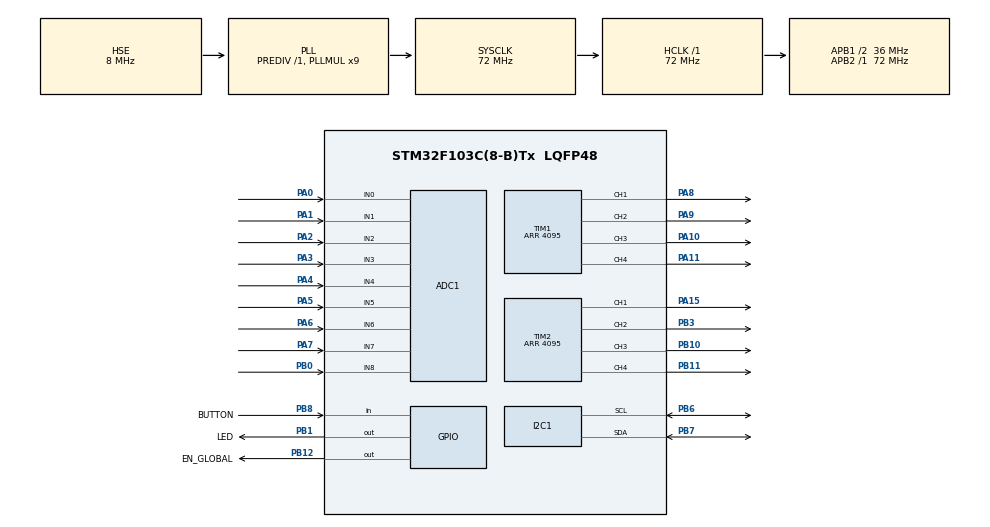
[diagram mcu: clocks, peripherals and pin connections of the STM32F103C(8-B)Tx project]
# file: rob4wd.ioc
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ADC1.Channel-0\#ChannelRegularConversion=ADC_CHANNEL_0
ADC1.Channel-1\#ChannelRegularConversion=ADC_CHANNEL_1
ADC1.Channel-2\#ChannelRegularConversion=ADC_CHANNEL_2
ADC1.Channel-3\#ChannelRegularConversion=ADC_CHANNEL_3
ADC1.Channel-4\#ChannelRegularConversion=ADC_CHANNEL_4
ADC1.Channel-5\#ChannelRegularConversion=ADC_CHANNEL_5
ADC1.Channel-6\#ChannelRegularConversion=ADC_CHANNEL_6
ADC1.Channel-7\#ChannelRegularConversion=ADC_CHANNEL_7
ADC1.Channel-8\#ChannelRegularConversion=ADC_CHANNEL_8
ADC1.NbrOfConversion=9
ADC1.NbrOfConversionFlag=1
ADC1.Rank-0\#ChannelRegularConversion=1
ADC1.Rank-1\#ChannelRegularConversion=2
ADC1.Rank-2\#ChannelRegularConversion=3
ADC1.Rank-3\#ChannelRegularConversion=4
ADC1.Rank-4\#ChannelRegularConversion=5
ADC1.Rank-5\#ChannelRegularConversion=6
ADC1.Rank-6\#ChannelRegularConversion=7
ADC1.Rank-7\#ChannelRegularConversion=8
ADC1.Rank-8\#ChannelRegularConversion=9
ADC1.SamplingTime-0\#ChannelRegularConversion=ADC_SAMPLETIME_7CYCLES_5
ADC1.SamplingTime-1\#ChannelRegularConversion=ADC_SAMPLETIME_7CYCLES_5
ADC1.SamplingTime-2\#ChannelRegularConversion=ADC_SAMPLETIME_7CYCLES_5
ADC1.SamplingTime-3\#ChannelRegularConversion=ADC_SAMPLETIME_7CYCLES_5
ADC1.SamplingTime-4\#ChannelRegularConversion=ADC_SAMPLETIME_7CYCLES_5
ADC1.SamplingTime-5\#ChannelRegularConversion=ADC_SAMPLETIME_7CYCLES_5
ADC1.SamplingTime-6\#ChannelRegularConversion=ADC_SAMPLETIME_7CYCLES_5
ADC1.SamplingTime-7\#ChannelRegularConversion=ADC_SAMPLETIME_7CYCLES_5
ADC1.SamplingTime-8\#ChannelRegularConversion=ADC_SAMPLETIME_7CYCLES_5
ADC1.master=1
Dma.ADC1.0.Direction=DMA_PERIPH_TO_MEMORY
Dma.ADC1.0.Instance=DMA1_Channel1
Dma.ADC1.0.MemDataAlignment=DMA_MDATAALIGN_HALFWORD
Dma.ADC1.0.MemInc=DMA_MINC_ENABLE
Dma.ADC1.0.Mode=DMA_NORMAL
Dma.ADC1.0.PeriphDataAlignment=DMA_PDATAALIGN_HALFWORD
Dma.ADC1.0.PeriphInc=DMA_PINC_DISABLE
Dma.ADC1.0.Priority=DMA_PRIORITY_LOW
Dma.Request0=ADC1
I2C1.OwnAddress=15
Mcu.Family=STM32F1
Mcu.Name=STM32F103C(8-B)Tx
Mcu.Package=LQFP48
NVIC.DMA1_Channel1_IRQn=true\:2\:2\:true\:false\:true\:false
NVIC.I2C1_ER_IRQn=true\:1\:0\:true\:false\:true\:true
NVIC.I2C1_EV_IRQn=true\:1\:1\:true\:false\:true\:true
NVIC.PriorityGroup=NVIC_PRIORITYGROUP_2
NVIC.TIM4_IRQn=true\:2\:1\:true\:false\:true\:true
PA0-WKUP.Signal=ADCx_IN0
PA1.Signal=ADCx_IN1
PA10.Signal=S_TIM1_CH3
PA11.Signal=S_TIM1_CH4
PA13.Mode=Serial_Wire
PA13.Signal=SYS_JTMS-SWDIO
PA14.Mode=Serial_Wire
PA14.Signal=SYS_JTCK-SWCLK
PA15.Signal=S_TIM2_CH1_ETR
PA2.Signal=ADCx_IN2
PA3.Signal=ADCx_IN3
PA4.Signal=ADCx_IN4
PA5.Signal=ADCx_IN5
PA6.Signal=ADCx_IN6
PA7.Signal=ADCx_IN7
PA8.Signal=S_TIM1_CH1
PA9.Signal=S_TIM1_CH2
PB0.Signal=ADCx_IN8
PB1.GPIO_Label=LED
PB1.Signal=GPIO_Output
PB10.Signal=S_TIM2_CH3
PB11.Signal=S_TIM2_CH4
PB12.GPIO_Label=EN_GLOBAL
PB12.Signal=GPIO_Output
PB3.Signal=S_TIM2_CH2
PB6.Mode=I2C
PB6.Signal=I2C1_SCL
PB7.Mode=I2C
PB7.Signal=I2C1_SDA
PB8.GPIO_Label=BUTTON
PB8.Signal=GPIO_Input
PD0-OSC_IN.Mode=HSE-External-Oscillator
PD0-OSC_IN.Signal=RCC_OSC_IN
PD1-OSC_OUT.Mode=HSE-External-Oscillator
PD1-OSC_OUT.Signal=RCC_OSC_OUT
ProjectManager.HeapSize=0x200
ProjectManager.StackSize=0x400
ProjectManager.TargetToolchain=MDK-ARM V5
RCC.ADCPresc=RCC_ADCPCLK2_DIV6
RCC.AHBFreq_Value=72000000
RCC.APB1CLKDivider=RCC_HCLK_DIV2
RCC.APB1Freq_Value=36000000
RCC.APB1TimFreq_Value=72000000
RCC.APB2Freq_Value=72000000
RCC.APB2TimFreq_Value=72000000
RCC.HCLKFreq_Value=72000000
RCC.PLLMUL=RCC_PLL_MUL9
RCC.PLLSourceVirtual=RCC_PLLSOURCE_HSE
RCC.SYSCLKFreq_VALUE=72000000
RCC.SYSCLKSource=RCC_SYSCLKSOURCE_PLLCLK
RCC.USBFreq_Value=72000000
SH.ADCx_IN0.0=ADC1_IN0,IN0
SH.ADCx_IN1.0=ADC1_IN1,IN1
SH.ADCx_IN2.0=ADC1_IN2,IN2
SH.ADCx_IN3.0=ADC1_IN3,IN3
SH.ADCx_IN4.0=ADC1_IN4,IN4
SH.ADCx_IN5.0=ADC1_IN5,IN5
SH.ADCx_IN6.0=ADC1_IN6,IN6
SH.ADCx_IN7.0=ADC1_IN7,IN7
SH.ADCx_IN8.0=ADC1_IN8,IN8
SH.S_TIM1_CH1.0=TIM1_CH1,PWM Generation1 CH1
SH.S_TIM1_CH2.0=TIM1_CH2,PWM Generation2 CH2
SH.S_TIM1_CH3.0=TIM1_CH3,PWM Generation3 CH3
SH.S_TIM1_CH4.0=TIM1_CH4,PWM Generation4 CH4
SH.S_TIM2_CH1_ETR.0=TIM2_CH1,PWM Generation1 CH1
SH.S_TIM2_CH2.0=TIM2_CH2,PWM Generation2 CH2
SH.S_TIM2_CH3.0=TIM2_CH3,PWM Generation3 CH3
SH.S_TIM2_CH4.0=TIM2_CH4,PWM Generation4 CH4
TIM1.Channel-PWM\ Generation1\ CH1=TIM_CHANNEL_1
TIM1.Channel-PWM\ Generation2\ CH2=TIM_CHANNEL_2
TIM1.Channel-PWM\ Generation3\ CH3=TIM_CHANNEL_3
TIM1.Channel-PWM\ Generation4\ CH4=TIM_CHANNEL_4
TIM1.Period=4095
TIM2.Channel-PWM\ Generation1\ CH1=TIM_CHANNEL_1
TIM2.Channel-PWM\ Generation2\ CH2=TIM_CHANNEL_2
TIM2.Channel-PWM\ Generation3\ CH3=TIM_CHANNEL_3
TIM2.Channel-PWM\ Generation4\ CH4=TIM_CHANNEL_4
TIM2.Period=4095
TIM4.Period=35999
TIM4.Prescaler=1
VP_TIM4_VS_ClockSourceINT.Mode=Internal
board=rob4wd

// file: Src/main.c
/**
  ******************************************************************************
  * File Name          : main.c
  * Description        : Main program body
  ******************************************************************************
  ** This notice applies to any and all portions of this file
  * that are not between comment pairs USER CODE BEGIN and
  * USER CODE END. Other portions of this file, whether
  * inserted by the user or by software development tools
  * are owned by their respective copyright owners.
  *
  * COPYRIGHT(c) 2018 STMicroelectronics
  *
  * Redistribution and use in source and binary forms, with or without modification,
  * are permitted provided that the following conditions are met:
  *   1. Redistributions of source code must retain the above copyright notice,
  *      this list of conditions and the following disclaimer.
  *   2. Redistributions in binary form must reproduce the above copyright notice,
  *      this list of conditions and the following disclaimer in the documentation
  *      and/or other materials provided with the distribution.
  *   3. Neither the name of STMicroelectronics nor the names of its contributors
  *      may be used to endorse or promote products derived from this software
  *      without specific prior written permission.
  *
  * THIS SOFTWARE IS PROVIDED BY THE COPYRIGHT HOLDERS AND CONTRIBUTORS "AS IS"
  * AND ANY EXPRESS OR IMPLIED WARRANTIES, INCLUDING, BUT NOT LIMITED TO, THE
  * IMPLIED WARRANTIES OF MERCHANTABILITY AND FITNESS FOR A PARTICULAR PURPOSE ARE
  * DISCLAIMED. IN NO EVENT SHALL THE COPYRIGHT HOLDER OR CONTRIBUTORS BE LIABLE
  * FOR ANY DIRECT, INDIRECT, INCIDENTAL, SPECIAL, EXEMPLARY, OR CONSEQUENTIAL
  * DAMAGES (INCLUDING, BUT NOT LIMITED TO, PROCUREMENT OF SUBSTITUTE GOODS OR
  * SERVICES; LOSS OF USE, DATA, OR PROFITS; OR BUSINESS INTERRUPTION) HOWEVER
  * CAUSED AND ON ANY THEORY OF LIABILITY, WHETHER IN CONTRACT, STRICT LIABILITY,
  * OR TORT (INCLUDING NEGLIGENCE OR OTHERWISE) ARISING IN ANY WAY OUT OF THE USE
  * OF THIS SOFTWARE, EVEN IF ADVISED OF THE POSSIBILITY OF SUCH DAMAGE.
  *
  ******************************************************************************
  */

#include "main.h"
#include "stm32f1xx_hal.h"
#include "adc.h"
#include "dma.h"
#include "i2c.h"
#include "tim.h"
#include "gpio.h"

/* USER CODE BEGIN PV */
/* Private variables ---------------------------------------------------------*/

/* USER CODE END PV */

void SystemClock_Config(void);

/* USER CODE BEGIN PFP */
/* Private function prototypes -----------------------------------------------*/

/* USER CODE END PFP */

int main(void)
{

  /* USER CODE BEGIN 1 */
	uint8_t i;

	adc_avg_cplt = 0;
  /* USER CODE END 1 */

  /* MCU Configuration----------------------------------------------------------*/

  /* Reset of all peripherals, Initializes the Flash interface and the Systick. */
  HAL_Init();

  /* Configure the system clock */
  SystemClock_Config();

  /* Initialize all configured peripherals */
  MX_GPIO_Init();
  MX_DMA_Init();
  MX_ADC1_Init();
  MX_I2C1_Init();
  MX_TIM1_Init();
  MX_TIM2_Init();
  MX_TIM4_Init();

  /* USER CODE BEGIN 2 */
	HAL_GPIO_WritePin(EN_GLOBAL_GPIO_Port, EN_GLOBAL_Pin, GPIO_PIN_SET);

	HAL_ADCEx_Calibration_Start(&hadc1);

	HAL_TIM_PWM_Start(&htim1, TIM_CHANNEL_1);
	HAL_TIM_PWM_Start(&htim1, TIM_CHANNEL_2);
	HAL_TIM_PWM_Start(&htim1, TIM_CHANNEL_3);
	HAL_TIM_PWM_Start(&htim1, TIM_CHANNEL_4);
	HAL_TIM_PWM_Start(&htim2, TIM_CHANNEL_1);
	HAL_TIM_PWM_Start(&htim2, TIM_CHANNEL_2);
	HAL_TIM_PWM_Start(&htim2, TIM_CHANNEL_3);
	HAL_TIM_PWM_Start(&htim2, TIM_CHANNEL_4);

	HAL_TIM_Base_Start_IT(&htim4);

	pwm_value[MOTOR_B_R][R] = &(TIM2->CCR2);
	pwm_value[MOTOR_B_R][L] = &(TIM2->CCR1);
	pwm_value[MOTOR_B_L][R] = &(TIM1->CCR3);
	pwm_value[MOTOR_B_L][L] = &(TIM1->CCR4);
	pwm_value[MOTOR_F_R][R] = &(TIM2->CCR3);
	pwm_value[MOTOR_F_R][L] = &(TIM2->CCR4);
	pwm_value[MOTOR_F_L][R] = &(TIM1->CCR1);
	pwm_value[MOTOR_F_L][L] = &(TIM1->CCR2);

	for (i = 0; i < MOTOR_MAX; i++) {
		arm_mat_init_f32(&mP_n[i], 2, 2, P_n[i]);
		arm_mat_init_f32(&mu_n[i], 2, 1, u_n_global[i]);
		arm_mat_init_f32(&muT_n[i], 1, 2, u_n_global[i]);
	}
	arm_mat_init_f32(&mk_n, 2, 1, k_n);
	arm_mat_init_f32(&maux41, 2, 1, aux41);
	arm_mat_init_f32(&maux14, 1, 2, aux14);
	arm_mat_init_f32(&maux44, 2, 2, aux44);

	HAL_Delay(500);

  restartComm();

	HAL_GPIO_WritePin(EN_GLOBAL_GPIO_Port, EN_GLOBAL_Pin, GPIO_PIN_RESET);

	/* USER CODE END 2 */

  /* Infinite loop */
  while (1)
  {

  /* USER CODE BEGIN 3 */
		if (adc_avg_cplt) {
			HAL_GPIO_TogglePin(LED_GPIO_Port, LED_Pin);
			control_loop();
			HAL_GPIO_TogglePin(LED_GPIO_Port, LED_Pin);
		}
  }
  /* USER CODE END 3 */

}

/** System Clock Configuration
*/
void SystemClock_Config(void)
{

  RCC_OscInitTypeDef RCC_OscInitStruct;
  RCC_ClkInitTypeDef RCC_ClkInitStruct;
  RCC_PeriphCLKInitTypeDef PeriphClkInit;

    /**Initializes the CPU, AHB and APB busses clocks
    */
  RCC_OscInitStruct.OscillatorType = RCC_OSCILLATORTYPE_HSE;
  RCC_OscInitStruct.HSEState = RCC_HSE_ON;
  RCC_OscInitStruct.HSEPredivValue = RCC_HSE_PREDIV_DIV1;
  RCC_OscInitStruct.HSIState = RCC_HSI_ON;
  RCC_OscInitStruct.PLL.PLLState = RCC_PLL_ON;
  RCC_OscInitStruct.PLL.PLLSource = RCC_PLLSOURCE_HSE;
  RCC_OscInitStruct.PLL.PLLMUL = RCC_PLL_MUL9;
  if (HAL_RCC_OscConfig(&RCC_OscInitStruct) != HAL_OK)
  {
    _Error_Handler(__FILE__, __LINE__);
  }

    /**Initializes the CPU, AHB and APB busses clocks
    */
  RCC_ClkInitStruct.ClockType = RCC_CLOCKTYPE_HCLK|RCC_CLOCKTYPE_SYSCLK
                              |RCC_CLOCKTYPE_PCLK1|RCC_CLOCKTYPE_PCLK2;
  RCC_ClkInitStruct.SYSCLKSource = RCC_SYSCLKSOURCE_PLLCLK;
  RCC_ClkInitStruct.AHBCLKDivider = RCC_SYSCLK_DIV1;
  RCC_ClkInitStruct.APB1CLKDivider = RCC_HCLK_DIV2;
  RCC_ClkInitStruct.APB2CLKDivider = RCC_HCLK_DIV1;

  if (HAL_RCC_ClockConfig(&RCC_ClkInitStruct, FLASH_LATENCY_2) != HAL_OK)
  {
    _Error_Handler(__FILE__, __LINE__);
  }

  PeriphClkInit.PeriphClockSelection = RCC_PERIPHCLK_ADC;
  PeriphClkInit.AdcClockSelection = RCC_ADCPCLK2_DIV6;
  if (HAL_RCCEx_PeriphCLKConfig(&PeriphClkInit) != HAL_OK)
  {
    _Error_Handler(__FILE__, __LINE__);
  }

    /**Configure the Systick interrupt time
    */
  HAL_SYSTICK_Config(HAL_RCC_GetHCLKFreq()/1000);

    /**Configure the Systick
    */
  HAL_SYSTICK_CLKSourceConfig(SYSTICK_CLKSOURCE_HCLK);

  /* SysTick_IRQn interrupt configuration */
  HAL_NVIC_SetPriority(SysTick_IRQn, 0, 0);
}

void _Error_Handler(char * file, int line)
{
  while(1)
  {
  }
}

/************************ (C) COPYRIGHT STMicroelectronics *****END OF FILE****/
